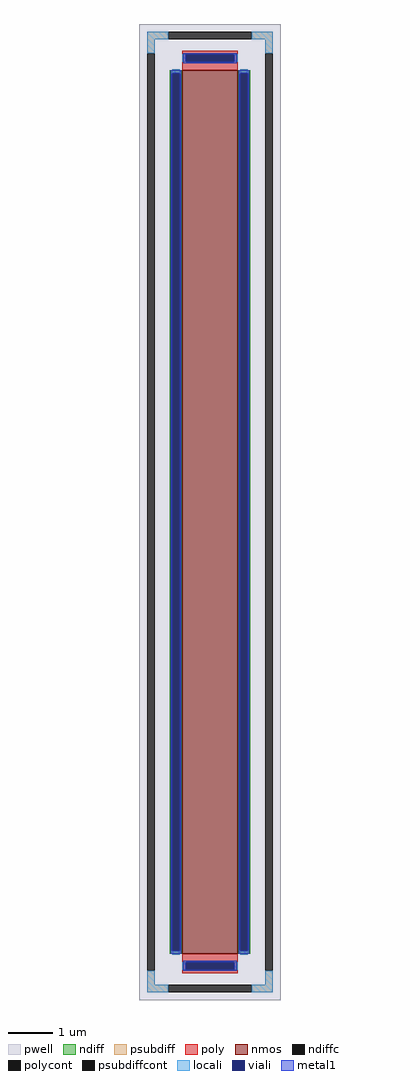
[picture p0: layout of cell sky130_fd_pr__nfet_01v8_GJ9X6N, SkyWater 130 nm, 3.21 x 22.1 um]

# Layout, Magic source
magic
tech sky130A
magscale 1 2
<< pwell >>
rect -321 -2210 321 2210
<< nmos >>
rect -125 -2000 125 2000
<< ndiff >>
rect -183 1988 -125 2000
rect -183 -1988 -171 1988
rect -137 -1988 -125 1988
rect -183 -2000 -125 -1988
rect 125 1988 183 2000
rect 125 -1988 137 1988
rect 171 -1988 183 1988
rect 125 -2000 183 -1988
<< ndiffc >>
rect -171 -1988 -137 1988
rect 137 -1988 171 1988
<< psubdiff >>
rect -285 2140 -189 2174
rect 189 2140 285 2174
rect -285 2078 -251 2140
rect 251 2078 285 2140
rect -285 -2140 -251 -2078
rect 251 -2140 285 -2078
rect -285 -2174 -189 -2140
rect 189 -2174 285 -2140
<< psubdiffcont >>
rect -189 2140 189 2174
rect -285 -2078 -251 2078
rect 251 -2078 285 2078
rect -189 -2174 189 -2140
<< poly >>
rect -125 2072 125 2088
rect -125 2038 -109 2072
rect 109 2038 125 2072
rect -125 2000 125 2038
rect -125 -2038 125 -2000
rect -125 -2072 -109 -2038
rect 109 -2072 125 -2038
rect -125 -2088 125 -2072
<< polycont >>
rect -109 2038 109 2072
rect -109 -2072 109 -2038
<< locali >>
rect -285 2140 -189 2174
rect 189 2140 285 2174
rect -285 2078 -251 2140
rect 251 2078 285 2140
rect -125 2038 -109 2072
rect 109 2038 125 2072
rect -171 1988 -137 2004
rect -171 -2004 -137 -1988
rect 137 1988 171 2004
rect 137 -2004 171 -1988
rect -125 -2072 -109 -2038
rect 109 -2072 125 -2038
rect -285 -2140 -251 -2078
rect 251 -2140 285 -2078
rect -285 -2174 -189 -2140
rect 189 -2174 285 -2140
<< viali >>
rect -109 2038 109 2072
rect -171 -1988 -137 1988
rect 137 -1988 171 1988
rect -109 -2072 109 -2038
<< metal1 >>
rect -121 2072 121 2078
rect -121 2038 -109 2072
rect 109 2038 121 2072
rect -121 2032 121 2038
rect -177 1988 -131 2000
rect -177 -1988 -171 1988
rect -137 -1988 -131 1988
rect -177 -2000 -131 -1988
rect 131 1988 177 2000
rect 131 -1988 137 1988
rect 171 -1988 177 1988
rect 131 -2000 177 -1988
rect -121 -2038 121 -2032
rect -121 -2072 -109 -2038
rect 109 -2072 121 -2038
rect -121 -2078 121 -2072
<< properties >>
string FIXED_BBOX -268 -2157 268 2157
string gencell sky130_fd_pr__nfet_01v8
string library sky130
string parameters w 20 l 1.25 m 1 nf 1 diffcov 100 polycov 100 guard 1 glc 1 grc 1 gtc 1 gbc 1 tbcov 100 rlcov 100 topc 1 botc 1 poverlap 0 doverlap 1 lmin 0.15 wmin 0.42 compatible {sky130_fd_pr__nfet_01v8 sky130_fd_pr__nfet_01v8_lvt  sky130_fd_bs_flash__special_sonosfet_star  sky130_fd_pr__nfet_g5v0d10v5 sky130_fd_pr__nfet_05v0_nvt  sky130_fd_pr__nfet_03v3_nvt} full_metal 1 viasrc 100 viadrn 100 viagate 100 viagb 0 viagr 0 viagl 0 viagt 0
<< end >>
